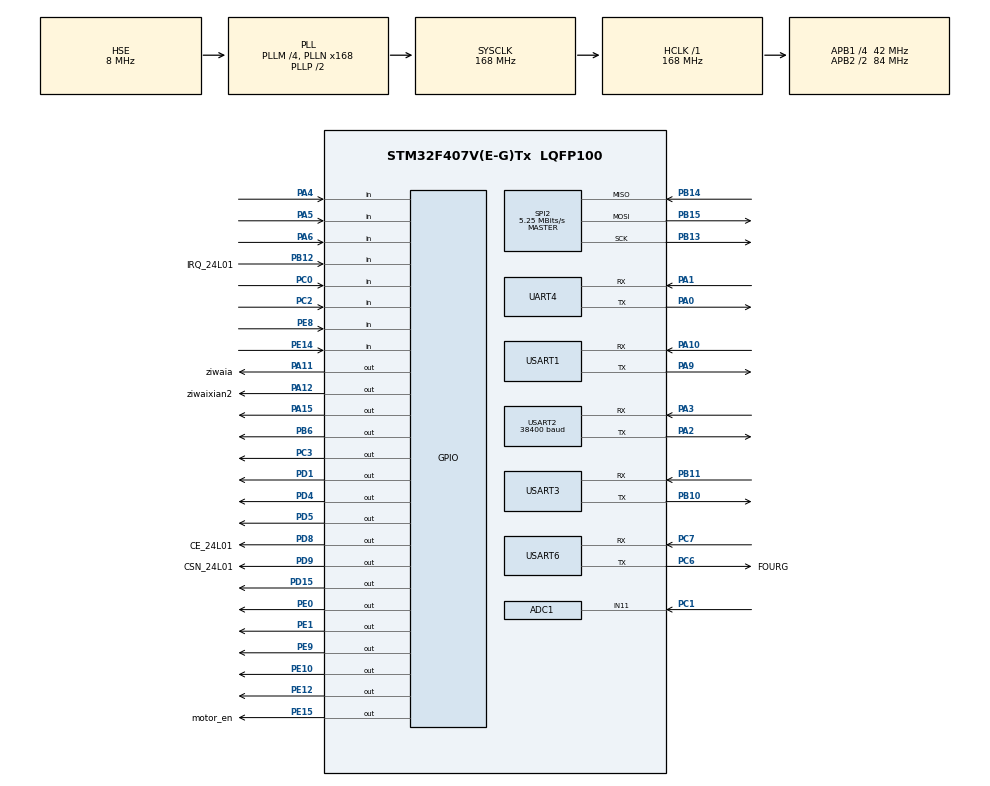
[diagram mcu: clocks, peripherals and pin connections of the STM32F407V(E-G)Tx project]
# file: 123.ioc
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ADC1.Channel-0\#ChannelRegularConversion=ADC_CHANNEL_11
ADC1.NbrOfConversionFlag=1
ADC1.Rank-0\#ChannelRegularConversion=1
ADC1.SamplingTime-0\#ChannelRegularConversion=ADC_SAMPLETIME_3CYCLES
ADC1.master=1
Dma.ADC1.6.Direction=DMA_PERIPH_TO_MEMORY
Dma.ADC1.6.FIFOMode=DMA_FIFOMODE_DISABLE
Dma.ADC1.6.Instance=DMA2_Stream0
Dma.ADC1.6.MemDataAlignment=DMA_MDATAALIGN_HALFWORD
Dma.ADC1.6.MemInc=DMA_MINC_ENABLE
Dma.ADC1.6.Mode=DMA_NORMAL
Dma.ADC1.6.PeriphDataAlignment=DMA_PDATAALIGN_HALFWORD
Dma.ADC1.6.PeriphInc=DMA_PINC_DISABLE
Dma.ADC1.6.Priority=DMA_PRIORITY_LOW
Dma.Request0=USART6_RX
Dma.Request1=USART6_TX
Dma.Request10=UART4_TX
Dma.Request2=USART3_RX
Dma.Request3=USART3_TX
Dma.Request4=USART2_TX
Dma.Request5=USART2_RX
Dma.Request6=ADC1
Dma.Request7=USART1_RX
Dma.Request8=USART1_TX
Dma.Request9=UART4_RX
Dma.UART4_RX.9.Direction=DMA_PERIPH_TO_MEMORY
Dma.UART4_RX.9.FIFOMode=DMA_FIFOMODE_DISABLE
Dma.UART4_RX.9.Instance=DMA1_Stream2
Dma.UART4_RX.9.MemDataAlignment=DMA_MDATAALIGN_BYTE
Dma.UART4_RX.9.MemInc=DMA_MINC_ENABLE
Dma.UART4_RX.9.Mode=DMA_NORMAL
Dma.UART4_RX.9.PeriphDataAlignment=DMA_PDATAALIGN_BYTE
Dma.UART4_RX.9.PeriphInc=DMA_PINC_DISABLE
Dma.UART4_RX.9.Priority=DMA_PRIORITY_LOW
Dma.UART4_TX.10.Direction=DMA_MEMORY_TO_PERIPH
Dma.UART4_TX.10.FIFOMode=DMA_FIFOMODE_DISABLE
Dma.UART4_TX.10.Instance=DMA1_Stream4
Dma.UART4_TX.10.MemDataAlignment=DMA_MDATAALIGN_BYTE
Dma.UART4_TX.10.MemInc=DMA_MINC_ENABLE
Dma.UART4_TX.10.Mode=DMA_NORMAL
Dma.UART4_TX.10.PeriphDataAlignment=DMA_PDATAALIGN_BYTE
Dma.UART4_TX.10.PeriphInc=DMA_PINC_DISABLE
Dma.UART4_TX.10.Priority=DMA_PRIORITY_LOW
Dma.USART1_RX.7.Direction=DMA_PERIPH_TO_MEMORY
Dma.USART1_RX.7.FIFOMode=DMA_FIFOMODE_DISABLE
Dma.USART1_RX.7.Instance=DMA2_Stream2
Dma.USART1_RX.7.MemDataAlignment=DMA_MDATAALIGN_BYTE
Dma.USART1_RX.7.MemInc=DMA_MINC_ENABLE
Dma.USART1_RX.7.Mode=DMA_NORMAL
Dma.USART1_RX.7.PeriphDataAlignment=DMA_PDATAALIGN_BYTE
Dma.USART1_RX.7.PeriphInc=DMA_PINC_DISABLE
Dma.USART1_RX.7.Priority=DMA_PRIORITY_VERY_HIGH
Dma.USART1_TX.8.Direction=DMA_MEMORY_TO_PERIPH
Dma.USART1_TX.8.FIFOMode=DMA_FIFOMODE_DISABLE
Dma.USART1_TX.8.Instance=DMA2_Stream7
Dma.USART1_TX.8.MemDataAlignment=DMA_MDATAALIGN_BYTE
Dma.USART1_TX.8.MemInc=DMA_MINC_ENABLE
Dma.USART1_TX.8.Mode=DMA_NORMAL
Dma.USART1_TX.8.PeriphDataAlignment=DMA_PDATAALIGN_BYTE
Dma.USART1_TX.8.PeriphInc=DMA_PINC_DISABLE
Dma.USART1_TX.8.Priority=DMA_PRIORITY_LOW
Dma.USART2_RX.5.Direction=DMA_PERIPH_TO_MEMORY
Dma.USART2_RX.5.FIFOMode=DMA_FIFOMODE_DISABLE
Dma.USART2_RX.5.Instance=DMA1_Stream5
Dma.USART2_RX.5.MemDataAlignment=DMA_MDATAALIGN_BYTE
Dma.USART2_RX.5.MemInc=DMA_MINC_ENABLE
Dma.USART2_RX.5.Mode=DMA_NORMAL
Dma.USART2_RX.5.PeriphDataAlignment=DMA_PDATAALIGN_BYTE
Dma.USART2_RX.5.PeriphInc=DMA_PINC_DISABLE
Dma.USART2_RX.5.Priority=DMA_PRIORITY_LOW
Dma.USART2_TX.4.Direction=DMA_MEMORY_TO_PERIPH
Dma.USART2_TX.4.FIFOMode=DMA_FIFOMODE_DISABLE
Dma.USART2_TX.4.Instance=DMA1_Stream6
Dma.USART2_TX.4.MemDataAlignment=DMA_MDATAALIGN_BYTE
Dma.USART2_TX.4.MemInc=DMA_MINC_ENABLE
Dma.USART2_TX.4.Mode=DMA_NORMAL
Dma.USART2_TX.4.PeriphDataAlignment=DMA_PDATAALIGN_BYTE
Dma.USART2_TX.4.PeriphInc=DMA_PINC_DISABLE
Dma.USART2_TX.4.Priority=DMA_PRIORITY_LOW
Dma.USART3_RX.2.Direction=DMA_PERIPH_TO_MEMORY
Dma.USART3_RX.2.FIFOMode=DMA_FIFOMODE_DISABLE
Dma.USART3_RX.2.Instance=DMA1_Stream1
Dma.USART3_RX.2.MemDataAlignment=DMA_MDATAALIGN_BYTE
Dma.USART3_RX.2.MemInc=DMA_MINC_ENABLE
Dma.USART3_RX.2.Mode=DMA_NORMAL
Dma.USART3_RX.2.PeriphDataAlignment=DMA_PDATAALIGN_BYTE
Dma.USART3_RX.2.PeriphInc=DMA_PINC_DISABLE
Dma.USART3_RX.2.Priority=DMA_PRIORITY_LOW
Dma.USART3_TX.3.Direction=DMA_MEMORY_TO_PERIPH
Dma.USART3_TX.3.FIFOMode=DMA_FIFOMODE_DISABLE
Dma.USART3_TX.3.Instance=DMA1_Stream3
Dma.USART3_TX.3.MemDataAlignment=DMA_MDATAALIGN_BYTE
Dma.USART3_TX.3.MemInc=DMA_MINC_ENABLE
Dma.USART3_TX.3.Mode=DMA_NORMAL
Dma.USART3_TX.3.PeriphDataAlignment=DMA_PDATAALIGN_BYTE
Dma.USART3_TX.3.PeriphInc=DMA_PINC_DISABLE
Dma.USART3_TX.3.Priority=DMA_PRIORITY_VERY_HIGH
Dma.USART6_RX.0.Direction=DMA_PERIPH_TO_MEMORY
Dma.USART6_RX.0.FIFOMode=DMA_FIFOMODE_DISABLE
Dma.USART6_RX.0.Instance=DMA2_Stream1
Dma.USART6_RX.0.MemDataAlignment=DMA_MDATAALIGN_BYTE
Dma.USART6_RX.0.MemInc=DMA_MINC_ENABLE
Dma.USART6_RX.0.Mode=DMA_NORMAL
Dma.USART6_RX.0.PeriphDataAlignment=DMA_PDATAALIGN_BYTE
Dma.USART6_RX.0.PeriphInc=DMA_PINC_DISABLE
Dma.USART6_RX.0.Priority=DMA_PRIORITY_LOW
Dma.USART6_TX.1.Direction=DMA_MEMORY_TO_PERIPH
Dma.USART6_TX.1.FIFOMode=DMA_FIFOMODE_DISABLE
Dma.USART6_TX.1.Instance=DMA2_Stream6
Dma.USART6_TX.1.MemDataAlignment=DMA_MDATAALIGN_BYTE
Dma.USART6_TX.1.MemInc=DMA_MINC_ENABLE
Dma.USART6_TX.1.Mode=DMA_NORMAL
Dma.USART6_TX.1.PeriphDataAlignment=DMA_PDATAALIGN_BYTE
Dma.USART6_TX.1.PeriphInc=DMA_PINC_DISABLE
Dma.USART6_TX.1.Priority=DMA_PRIORITY_LOW
Mcu.Family=STM32F4
Mcu.Name=STM32F407V(E-G)Tx
Mcu.Package=LQFP100
NVIC.DMA1_Stream1_IRQn=true\:0\:0\:false\:false\:true\:false\:true\:true
NVIC.DMA1_Stream2_IRQn=true\:0\:0\:false\:false\:true\:false\:true\:true
NVIC.DMA1_Stream3_IRQn=true\:0\:0\:false\:false\:true\:false\:true\:true
NVIC.DMA1_Stream4_IRQn=true\:0\:0\:false\:false\:true\:false\:true\:true
NVIC.DMA1_Stream5_IRQn=true\:0\:0\:false\:false\:true\:false\:true\:true
NVIC.DMA1_Stream6_IRQn=true\:0\:0\:false\:false\:true\:false\:true\:true
NVIC.DMA2_Stream0_IRQn=true\:0\:0\:false\:false\:true\:false\:true\:true
NVIC.DMA2_Stream1_IRQn=true\:0\:0\:false\:false\:true\:false\:true\:true
NVIC.DMA2_Stream2_IRQn=true\:0\:0\:false\:false\:true\:false\:true\:true
NVIC.DMA2_Stream6_IRQn=true\:0\:0\:false\:false\:true\:false\:true\:true
NVIC.DMA2_Stream7_IRQn=true\:0\:0\:false\:false\:true\:false\:true\:true
NVIC.PriorityGroup=NVIC_PRIORITYGROUP_4
NVIC.TIM2_IRQn=true\:2\:0\:true\:false\:true\:true\:true\:true
NVIC.TIM5_IRQn=true\:1\:0\:true\:false\:true\:true\:true\:true
NVIC.TIM6_DAC_IRQn=true\:3\:0\:true\:false\:true\:true\:true\:true
NVIC.UART4_IRQn=true\:1\:0\:true\:false\:true\:true\:true\:true
NVIC.USART1_IRQn=true\:0\:0\:false\:false\:true\:true\:true\:true
NVIC.USART2_IRQn=true\:1\:0\:true\:false\:true\:true\:true\:true
NVIC.USART3_IRQn=true\:1\:0\:true\:false\:true\:true\:true\:true
NVIC.USART6_IRQn=true\:0\:0\:false\:false\:true\:true\:true\:true
PA0-WKUP.Mode=Asynchronous
PA0-WKUP.Signal=UART4_TX
PA1.Mode=Asynchronous
PA1.Signal=UART4_RX
PA10.GPIO_ModeDefaultPP=GPIO_MODE_AF_PP
PA10.Mode=Asynchronous
PA10.Signal=USART1_RX
PA11.GPIO_Label=ziwaia
PA11.GPIO_PuPd=GPIO_PULLDOWN
PA11.Signal=GPIO_Output
PA12.GPIO_Label=ziwaixian2
PA12.GPIO_PuPd=GPIO_PULLDOWN
PA12.Signal=GPIO_Output
PA13.Mode=Serial_Wire
PA13.Signal=SYS_JTMS-SWDIO
PA14.Mode=Serial_Wire
PA14.Signal=SYS_JTCK-SWCLK
PA15.GPIO_Speed=GPIO_SPEED_FREQ_LOW
PA15.PinState=GPIO_PIN_SET
PA15.Signal=GPIO_Output
PA2.GPIO_ModeDefaultPP=GPIO_MODE_AF_PP
PA2.Mode=Asynchronous
PA2.Signal=USART2_TX
PA3.Mode=Asynchronous
PA3.Signal=USART2_RX
PA4.GPIO_Mode=GPIO_MODE_INPUT
PA4.Signal=GPIO_Input
PA5.GPIO_Mode=GPIO_MODE_INPUT
PA5.Signal=GPIO_Input
PA6.GPIO_Mode=GPIO_MODE_INPUT
PA6.Signal=GPIO_Input
PA9.GPIO_ModeDefaultPP=GPIO_MODE_AF_PP
PA9.Mode=Asynchronous
PA9.Signal=USART1_TX
PB10.Mode=Asynchronous
PB10.Signal=USART3_TX
PB11.Mode=Asynchronous
PB11.Signal=USART3_RX
PB12.GPIO_Label=IRQ_24L01
PB12.Signal=GPIO_Input
PB13.GPIO_Mode=GPIO_MODE_AF_PP
PB13.Mode=Full_Duplex_Master
PB13.Signal=SPI2_SCK
PB14.GPIO_Mode=GPIO_MODE_AF_PP
PB14.Mode=Full_Duplex_Master
PB14.Signal=SPI2_MISO
PB15.GPIO_Mode=GPIO_MODE_AF_PP
PB15.Mode=Full_Duplex_Master
PB15.Signal=SPI2_MOSI
PB6.GPIO_ModeDefaultOutputPP=GPIO_MODE_OUTPUT_OD
PB6.GPIO_PuPd=GPIO_PULLUP
PB6.PinState=GPIO_PIN_SET
PB6.Signal=GPIO_Output
PC0.GPIO_Mode=GPIO_MODE_INPUT
PC0.Signal=GPIO_Input
PC1.Signal=ADCx_IN11
PC2.GPIO_Mode=GPIO_MODE_INPUT
PC2.Signal=GPIO_Input
PC3.GPIO_Speed=GPIO_SPEED_FREQ_LOW
PC3.Signal=GPIO_Output
PC6.GPIO_Label=FOURG
PC6.Mode=Asynchronous
PC6.Signal=USART6_TX
PC7.Mode=Asynchronous
PC7.Signal=USART6_RX
PD1.GPIO_ModeDefaultOutputPP=GPIO_MODE_OUTPUT_PP
PD1.GPIO_Speed=GPIO_SPEED_FREQ_HIGH
PD1.Signal=GPIO_Output
PD15.GPIO_ModeDefaultOutputPP=GPIO_MODE_OUTPUT_PP
PD15.GPIO_Speed=GPIO_SPEED_FREQ_HIGH
PD15.Signal=GPIO_Output
PD4.GPIO_ModeDefaultOutputPP=GPIO_MODE_OUTPUT_PP
PD4.GPIO_Speed=GPIO_SPEED_FREQ_HIGH
PD4.Signal=GPIO_Output
PD5.GPIO_ModeDefaultOutputPP=GPIO_MODE_OUTPUT_PP
PD5.GPIO_Speed=GPIO_SPEED_FREQ_HIGH
PD5.Signal=GPIO_Output
PD8.GPIO_Label=CE_24L01
PD8.GPIO_Speed=GPIO_SPEED_FREQ_HIGH
PD8.Signal=GPIO_Output
PD9.GPIO_Label=CSN_24L01
PD9.GPIO_Speed=GPIO_SPEED_FREQ_HIGH
PD9.PinState=GPIO_PIN_SET
PD9.Signal=GPIO_Output
PE0.GPIO_PuPd=GPIO_PULLUP
PE0.GPIO_Speed=GPIO_SPEED_FREQ_LOW
PE0.PinState=GPIO_PIN_SET
PE0.Signal=GPIO_Output
PE1.GPIO_PuPd=GPIO_PULLDOWN
PE1.Signal=GPIO_Output
PE10.GPIO_ModeDefaultOutputPP=GPIO_MODE_OUTPUT_PP
PE10.GPIO_Speed=GPIO_SPEED_FREQ_HIGH
PE10.Signal=GPIO_Output
PE12.GPIO_ModeDefaultOutputPP=GPIO_MODE_OUTPUT_PP
PE12.GPIO_Speed=GPIO_SPEED_FREQ_HIGH
PE12.Signal=GPIO_Output
PE14.GPIO_PuPd=GPIO_PULLDOWN
PE14.Signal=GPIO_Input
PE15.GPIO_Label=motor_en
PE15.Signal=GPIO_Output
PE8.GPIO_PuPd=GPIO_PULLUP
PE8.Signal=GPIO_Input
PE9.GPIO_ModeDefaultOutputPP=GPIO_MODE_OUTPUT_PP
PE9.GPIO_Speed=GPIO_SPEED_FREQ_HIGH
PE9.Signal=GPIO_Output
PH0-OSC_IN.Mode=HSE-External-Oscillator
PH0-OSC_IN.Signal=RCC_OSC_IN
PH1-OSC_OUT.Mode=HSE-External-Oscillator
PH1-OSC_OUT.Signal=RCC_OSC_OUT
ProjectManager.HeapSize=0x800
ProjectManager.StackSize=0x1200
ProjectManager.TargetToolchain=MDK-ARM V5.32
RCC.48MHZClocksFreq_Value=84000000
RCC.AHBFreq_Value=168000000
RCC.APB1CLKDivider=RCC_HCLK_DIV4
RCC.APB1Freq_Value=42000000
RCC.APB1TimFreq_Value=84000000
RCC.APB2CLKDivider=RCC_HCLK_DIV2
RCC.APB2Freq_Value=84000000
RCC.APB2TimFreq_Value=168000000
RCC.CortexFreq_Value=168000000
RCC.HCLKFreq_Value=168000000
RCC.HSE_VALUE=8000000
RCC.HSI_VALUE=16000000
RCC.LSE_VALUE=32768
RCC.PLLM=4
RCC.PLLN=168
RCC.PLLSourceVirtual=RCC_PLLSOURCE_HSE
RCC.SYSCLKFreq_VALUE=168000000
RCC.SYSCLKSource=RCC_SYSCLKSOURCE_PLLCLK
RCC.VCOOutputFreq_Value=336000000
SH.ADCx_IN11.0=ADC1_IN11,IN11
SPI2.BaudRatePrescaler=SPI_BAUDRATEPRESCALER_8
SPI2.CalculateBaudRate=5.25 MBits/s
SPI2.Direction=SPI_DIRECTION_2LINES
SPI2.Mode=SPI_MODE_MASTER
SPI2.VirtualType=VM_MASTER
TIM2.AutoReloadPreload=TIM_AUTORELOAD_PRELOAD_ENABLE
TIM2.Period=5000-1
TIM2.Prescaler=84-1
TIM5.Period=65535
TIM5.Prescaler=84-1
TIM6.AutoReloadPreload=TIM_AUTORELOAD_PRELOAD_DISABLE
TIM6.Period=8400-1
TIM6.Prescaler=20-1
TIM7.Period=8400-1
TIM7.Prescaler=4-1
UART4.VirtualMode=Asynchronous
USART1.VirtualMode=VM_ASYNC
USART2.BaudRate=38400
USART2.VirtualMode=VM_ASYNC
USART3.VirtualMode=VM_ASYNC
USART6.VirtualMode=VM_ASYNC
VP_TIM2_VS_ClockSourceINT.Mode=Internal
VP_TIM5_VS_ClockSourceINT.Mode=Internal
VP_TIM6_VS_ClockSourceINT.Mode=Enable_Timer
VP_TIM7_VS_ClockSourceINT.Mode=Enable_Timer
board=custom

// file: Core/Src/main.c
/* USER CODE BEGIN Header */
/**
  ******************************************************************************
  * @file           : main.c
  * @brief          : Main program body
  ******************************************************************************
  * @attention
  *
  * Copyright (c) 2025 STMicroelectronics.
  * All rights reserved.
  *
  * This software is licensed under terms that can be found in the LICENSE file
  * in the root directory of this software component.
  * If no LICENSE file comes with this software, it is provided AS-IS.
  *
  ******************************************************************************
  */
/* USER CODE END Header */
#include "main.h"
#include "adc.h"
#include "dma.h"
#include "spi.h"
#include "tim.h"
#include "usart.h"
#include "gpio.h"

/* USER CODE BEGIN Includes */
#include "all.h"

/* USER CODE END Includes */

void SystemClock_Config(void);

/* USER CODE BEGIN 0 */
 int g=0;

uint8_t testbuffer[10]="saq";
/* USER CODE END 0 */

int main(void)
{

  /* MCU Configuration--------------------------------------------------------*/

  /* Reset of all peripherals, Initializes the Flash interface and the Systick. */
  HAL_Init();

  /* Configure the system clock */
  SystemClock_Config();

  /* Initialize all configured peripherals */
  MX_GPIO_Init();
  MX_DMA_Init();
  MX_TIM6_Init();
  MX_TIM7_Init();
  MX_USART1_UART_Init();
  MX_USART6_UART_Init();
  MX_SPI2_Init();
  MX_USART3_UART_Init();
  MX_USART2_UART_Init();
  MX_ADC1_Init();
  MX_TIM2_Init();
  MX_TIM5_Init();
  MX_UART4_Init();
  /* USER CODE BEGIN 2 */

	  HEART_DATA_INIT();
	  MOTOR_INIT();
	  FOURG_INIT();
		openmv_init();
		voice_init();

	  while(NRF24L01_Check())
 {
  	HAL_Delay(1000);
 }
 for(int o;o<40;o++)
	 {
	   nrf2401.SNET_buffer[o]=0;

	 }

       NRF24L01_RX_Mode();//����Ϊ����ģʽ
  /* USER CODE END 2 */

  /* Infinite loop */
  /* USER CODE BEGIN WHILE */

//	 HAL_Delay(500);

//	  HAL_Delay(500);

	  FOURG_UP(0);

	  resources_init();
	  all_init();

	 HAL_TIM_Base_Start_IT(&htim2);
  /* USER CODE END 2 */

  /* Infinite loop */
  /* USER CODE BEGIN WHILE */

   HAL_Delay(500);

    HAL_Delay(500);

  while (1)
  {
    /* USER CODE END WHILE */

    /* USER CODE BEGIN 3 */
//		HAL_UART_Transmit(&huart1,testbuffer,5,100);
//		HAL_Delay(1000);

////

	//	MOTOR_TEST_LOCATION();

		Data_send_openmv();
		code_carry();
		voice_order();
	    LCD_COUNTER_COMMON();
		g++;

  }
  /* USER CODE END 3 */
}

void SystemClock_Config(void)
{
  RCC_OscInitTypeDef RCC_OscInitStruct = {0};
  RCC_ClkInitTypeDef RCC_ClkInitStruct = {0};

  /** Configure the main internal regulator output voltage
  */
  __HAL_RCC_PWR_CLK_ENABLE();
  __HAL_PWR_VOLTAGESCALING_CONFIG(PWR_REGULATOR_VOLTAGE_SCALE1);

  /** Initializes the RCC Oscillators according to the specified parameters
  * in the RCC_OscInitTypeDef structure.
  */
  RCC_OscInitStruct.OscillatorType = RCC_OSCILLATORTYPE_HSE;
  RCC_OscInitStruct.HSEState = RCC_HSE_ON;
  RCC_OscInitStruct.PLL.PLLState = RCC_PLL_ON;
  RCC_OscInitStruct.PLL.PLLSource = RCC_PLLSOURCE_HSE;
  RCC_OscInitStruct.PLL.PLLM = 4;
  RCC_OscInitStruct.PLL.PLLN = 168;
  RCC_OscInitStruct.PLL.PLLP = RCC_PLLP_DIV2;
  RCC_OscInitStruct.PLL.PLLQ = 4;
  if (HAL_RCC_OscConfig(&RCC_OscInitStruct) != HAL_OK)
  {
    Error_Handler();
  }

  /** Initializes the CPU, AHB and APB buses clocks
  */
  RCC_ClkInitStruct.ClockType = RCC_CLOCKTYPE_HCLK|RCC_CLOCKTYPE_SYSCLK
                              |RCC_CLOCKTYPE_PCLK1|RCC_CLOCKTYPE_PCLK2;
  RCC_ClkInitStruct.SYSCLKSource = RCC_SYSCLKSOURCE_PLLCLK;
  RCC_ClkInitStruct.AHBCLKDivider = RCC_SYSCLK_DIV1;
  RCC_ClkInitStruct.APB1CLKDivider = RCC_HCLK_DIV4;
  RCC_ClkInitStruct.APB2CLKDivider = RCC_HCLK_DIV2;

  if (HAL_RCC_ClockConfig(&RCC_ClkInitStruct, FLASH_LATENCY_5) != HAL_OK)
  {
    Error_Handler();
  }
}

void Error_Handler(void)
{
  __disable_irq();
  while (1)
  {
  }
}
